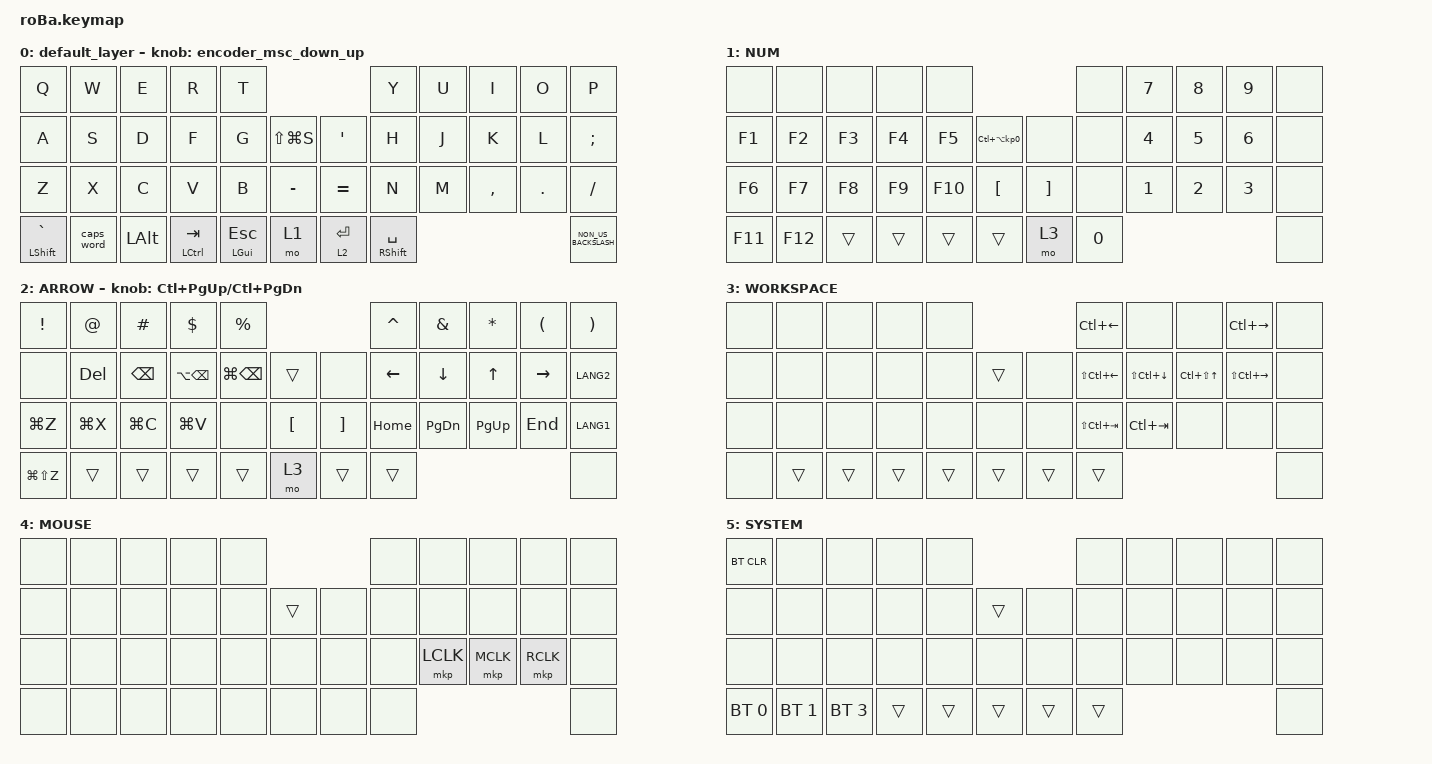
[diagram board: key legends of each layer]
#include <behaviors.dtsi>
#include <dt-bindings/zmk/bt.h>
#include <dt-bindings/zmk/keys.h>
#include <dt-bindings/zmk/pointing.h>

#define ZMK_POINTING_DEFAULT_SCRL_VAL 80 // ロータリーエンコーダのスクロール量（大きいほど速い）

&mt {
    quick-tap-ms = <150>;
    tapping-term-ms = <220>;
    require-prior-idle-ms = <125>;
    retro-tap;
    hold-trigger-on-release;
};

&trackball {
    automouse-layer = <4>;
    scroll-layers = <5>;

    // arrows {
    //     layers = <3>;
    //     bindings =
    //         <&kp RIGHT_ARROW>,
    //         <&kp LEFT_ARROW>,
    //         <&kp UP_ARROW>,
    //         <&kp DOWN_ARROW>;
    //     tick = <10>;
    //     wait-ms = <5>;
    //     tap-ms = <5>;
    // };
};

/ {
    combos {
        compatible = "zmk,combos";

        l_click {
            bindings = <&mkp MB1>;
            key-positions = <18 19>;
        };

        m_click {
            bindings = <&mkp MB3>;
            key-positions = <19 31>;
        };

        r_click {
            bindings = <&mkp MB2>;
            key-positions = <20 21>;
        };

        system {
            bindings = <&mo 5>;
            key-positions = <37 38>;
        };
    };

    behaviors {
        encoder_msc_down_up: encoder_msc_down_up {
            compatible = "zmk,behavior-sensor-rotate";
            label = "ENCODER_MSC_DOWN_UP";
            #sensor-binding-cells = <0>;
            bindings = <&msc SCRL_UP>, <&msc SCRL_DOWN>;

            tap-ms = <20>;
        };
    };

    keymap {
        compatible = "zmk,keymap";

        default_layer {
            bindings = <
&kp Q                 &kp W       &kp E         &kp R          &kp T                                             &kp Y                  &kp U  &kp I      &kp O    &kp P
&kp A                 &kp S       &kp D         &kp F          &kp G             &kp LS(LG(S))      &kp SQT      &kp H                  &kp J  &kp K      &kp L    &kp SEMICOLON
&kp Z                 &kp X       &kp C         &kp V          &kp B             &kp MINUS          &kp EQUAL    &kp N                  &kp M  &kp COMMA  &kp DOT  &kp SLASH
&mt LEFT_SHIFT GRAVE  &caps_word  &kp LEFT_ALT  &mt LCTRL TAB  &mt LEFT_GUI ESC  &mo 1              &lt 2 ENTER  &mt RIGHT_SHIFT SPACE                             &kp NON_US_BACKSLASH
            >;

            sensor-bindings = <&encoder_msc_down_up>;
        };

        NUM {
            bindings = <
&none    &none    &none   &none   &none                                           &none   &kp N7  &kp N8  &kp N9  &none
&kp F1   &kp F2   &kp F3  &kp F4  &kp F5   &kp LC(LA(KP_NUMBER_0))      &none     &none   &kp N4  &kp N5  &kp N6  &none
&kp F6   &kp F7   &kp F8  &kp F9  &kp F10  &kp LBKT                     &kp RBKT  &none   &kp N1  &kp N2  &kp N3  &none
&kp F11  &kp F12  &trans  &trans  &trans   &trans                       &mo 3     &kp N0                          &none
            >;
        };

        ARROW {
            bindings = <
&kp EXCLAMATION  &kp AT      &kp HASH       &kp DOLLAR         &kp PERCENT                                &kp CARET       &kp AMPERSAND   &kp ASTERISK  &kp LEFT_PARENTHESIS  &kp RIGHT_PARENTHESIS
&none            &kp DELETE  &kp BACKSPACE  &kp LA(BACKSPACE)  &kp LG(BACKSPACE)  &trans        &none     &kp LEFT_ARROW  &kp DOWN_ARROW  &kp UP_ARROW  &kp RIGHT_ARROW       &kp LANG2
&kp LG(Z)        &kp LG(X)   &kp LG(C)      &kp LG(V)          &none              &kp LBKT      &kp RBKT  &kp HOME        &kp PAGE_DOWN   &kp PAGE_UP   &kp END               &kp LANG1
&kp LG(LS(Z))    &trans      &trans         &trans             &trans             &mo 3         &trans    &trans                                                              &none
            >;

            sensor-bindings = <&inc_dec_kp LC(PAGE_UP) LC(PAGE_DOWN)>;
        };

        WORKSPACE {
            bindings = <
&none  &none   &none   &none   &none                       &kp LC(LEFT_ARROW)  &none             &none           &kp LC(RIGHT)      &none
&none  &none   &none   &none   &none   &trans      &none   &kp LS(LC(LEFT))    &kp LS(LC(DOWN))  &kp LC(LS(UP))  &kp LS(LC(RIGHT))  &none
&none  &none   &none   &none   &none   &none       &none   &kp LS(LC(TAB))     &kp LC(TAB)       &none           &none              &none
&none  &trans  &trans  &trans  &trans  &trans      &trans  &trans                                                                   &none
            >;
        };

        MOUSE {
            bindings = <
&none  &none  &none  &none  &none                     &none  &none      &none      &none      &none
&none  &none  &none  &none  &none  &trans      &none  &none  &none      &none      &none      &none
&none  &none  &none  &none  &none  &none       &none  &none  &mkp LCLK  &mkp MCLK  &mkp RCLK  &none
&none  &none  &none  &none  &none  &none       &none  &none                                   &none
            >;
        };

        SYSTEM {
            bindings = <
&bt BT_CLR    &none         &none         &none   &none                       &none   &none  &none  &none  &none
&none         &none         &none         &none   &none   &trans      &none   &none   &none  &none  &none  &none
&none         &none         &none         &none   &none   &none       &none   &none   &none  &none  &none  &none
&bt BT_SEL 0  &bt BT_SEL 1  &bt BT_SEL 3  &trans  &trans  &trans      &trans  &trans                       &none
            >;
        };
    };
};
